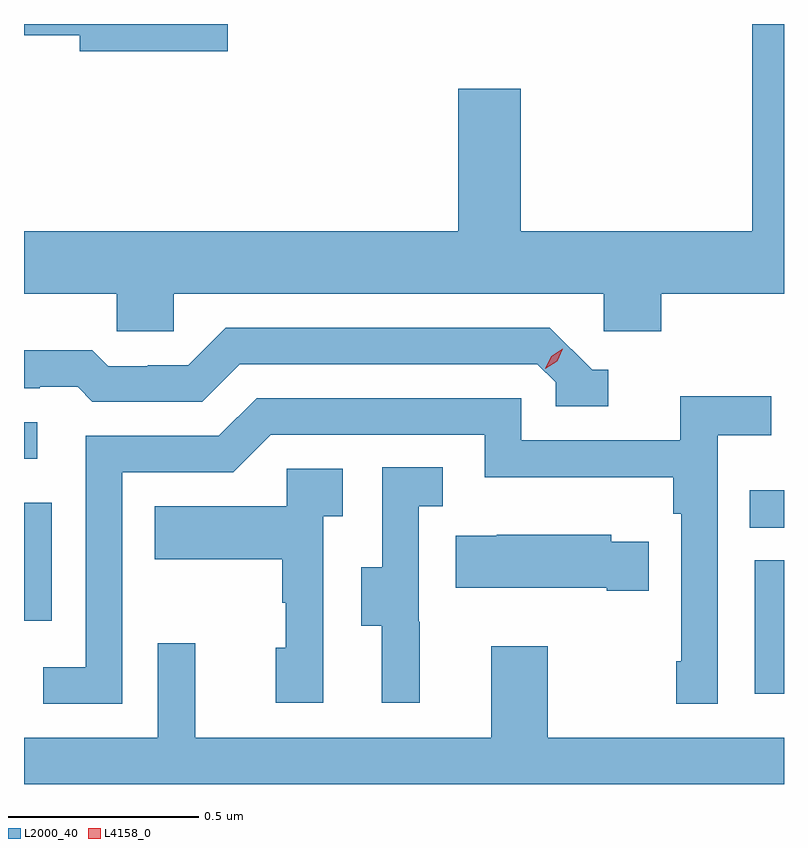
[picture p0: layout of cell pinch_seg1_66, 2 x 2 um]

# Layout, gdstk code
import gdstk
lib = gdstk.Library(unit=1e-6, precision=1e-09)
def R(c, l, rs):  # rectangles x0, y0, x1, y1
    for r in rs: c.add(gdstk.rectangle(r[:2], r[2:], *l))
def P(c, l, *ps):  # polygons
    for p in ps: c.add(gdstk.Polygon(p, *l))
L2000_40 = (2000, 40)
L4158_0 = (4158, 0)

pinch_seg1_66 = lib.new_cell('pinch_seg1_66')
R(pinch_seg1_66, L2000_40, [(1028.924,566.664,1029.001,567.015), (1027.001,566.856,1027.074,567.166), (1028.911,567.1,1029.001,567.199), (1027.001,567.282,1027.036,567.378)])
P(pinch_seg1_66, L2000_40, [(1027.395,567.716),(1028.526,567.716),(1028.526,567.618),(1028.678,567.618),(1028.678,567.716),(1029.001,567.716),(1029.001,568.426),(1028.918,568.426),(1028.918,567.88),(1028.308,567.88),(1028.308,568.255),(1028.144,568.255),(1028.144,567.88),(1027.001,567.88),(1027.001,567.716),(1027.245,567.716),(1027.245,567.618),(1027.395,567.618)],
  [(1027.537,568.426),(1027.001,568.426),(1027.001,568.396),(1027.148,568.396),(1027.148,568.354),(1027.537,568.354)],
  [(1028.539,567.516),(1028.496,567.516),(1028.385,567.627),(1027.532,567.627),(1027.433,567.528),(1027.326,567.528),(1027.326,567.525),(1027.223,567.525),(1027.181,567.568),(1027.001,567.568),(1027.001,567.468),(1027.043,567.468),(1027.043,567.471),(1027.142,567.471),(1027.181,567.432),(1027.47,567.432),(1027.569,567.531),(1028.352,567.531),(1028.4,567.483),(1028.4,567.42),(1028.539,567.42)],
  [(1027.26,567.246),(1027.551,567.246),(1027.65,567.345),(1028.214,567.345),(1028.214,567.233),(1028.71,567.233),(1028.71,567.137),(1028.73,567.137),(1028.73,566.749),(1028.718,566.749),(1028.718,566.637),(1028.826,566.637),(1028.826,567.344),(1028.968,567.344),(1028.968,567.446),(1028.728,567.446),(1028.728,567.33),(1028.31,567.33),(1028.31,567.441),(1027.613,567.441),(1027.514,567.342),(1027.164,567.342),(1027.164,566.733),(1027.051,566.733),(1027.051,566.637),(1027.26,566.637)],
  [(1028.042,566.853),(1028.04,566.853),(1028.04,567.157),(1028.103,567.157),(1028.103,567.26),(1027.944,567.26),(1027.944,566.997),(1027.889,566.997),(1027.889,566.842),(1027.943,566.842),(1027.943,566.64),(1028.042,566.64)],
  [(1027.788,567.131),(1027.84,567.131),(1027.84,567.255),(1027.692,567.255),(1027.692,567.157),(1027.345,567.157),(1027.345,567.017),(1027.68,567.017),(1027.68,566.903),(1027.69,566.903),(1027.69,566.784),(1027.664,566.784),(1027.664,566.64),(1027.788,566.64)],
  [(1028.645,567.064),(1028.547,567.064),(1028.547,567.082),(1028.245,567.082),(1028.245,567.079),(1028.137,567.079),(1028.137,566.942),(1028.534,566.942),(1028.534,566.935),(1028.645,566.935)],
  [(1029.001,566.548),(1028.379,566.548),(1028.379,566.788),(1028.231,566.788),(1028.231,566.548),(1027.451,566.548),(1027.451,566.797),(1027.353,566.797),(1027.353,566.548),(1027.001,566.548),(1027.001,566.426),(1029.001,566.426)])
P(pinch_seg1_66, L4158_0, [(1028.373,567.519),(1028.373,567.52),(1028.389,567.552),(1028.419,567.572),(1028.419,567.572),(1028.419,567.572),(1028.404,567.539),(1028.373,567.519)])

lib.write_gds('pinch_seg1_66.gds')
